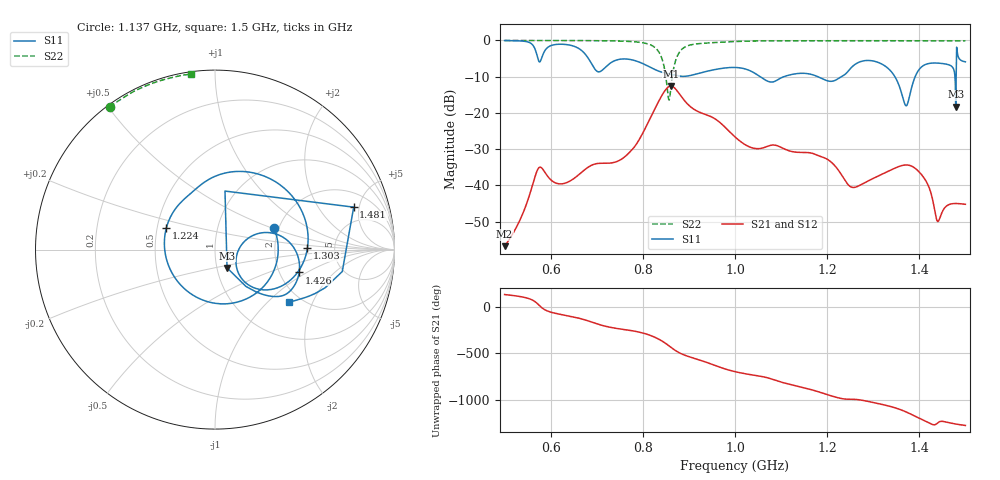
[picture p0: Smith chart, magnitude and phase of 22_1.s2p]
! TOUCHSTONE file generated by CST MICROWAVE STUDIO
! Date and time: Sat Nov 14 20:37:58 2020
! Project name: Scenario_1_Planar_Body_Tissue_Out_of_Line_v2.cst
! Parameters = {dy1=-17.3; L_HA=400; Ltissue=700; MT=2.54; Rad_Dielectric=30; Rad_Lower=7.3; Rad_Upper=30; Wtissue=700; a_HA=580; a_WG=246; b_HA=500; b_WG=121; c_HA=0; c_WG=187; d_feed=85; dx1=173; h_feed=15; h_lower=18; h_upper=40; hfat=3; hgap=25; hmuscle=50; hskin=1.5}
! Header version: 2018
! Port assignment regex: !\s*Touchstone port\s*([0-9]+)\s*=\s*(CST MWS port|CST DS port)\s*([0-9]+|Zmin|Zmax)\s*\(\"(.*)\"\)(\s*mode\s*([0-9]+))?.*
! Touchstone port assignment:
! Touchstone port 1 = CST MWS port 1 ("")
! Touchstone port 2 = CST MWS port 2 ("")
# GHz S DB R 50
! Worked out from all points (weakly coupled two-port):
!   1003 points, 500 MHz to 1.5 GHz, reference 50 ohm
!   highest |S21| = -12.58 dB at 861 MHz (marker M1); lowest = -56.8 dB at 500 MHz (marker M2)
!   lowest |S11| = -18.3 dB at 1.479 GHz (marker M3), VSWR 1.28, Z = 55.9 - j11.5 ohm
!   |S11| at or under -10 dB: 1.054 GHz to 1.106 GHz (51.78 MHz wide, 4.79 % of centre); 1.18 GHz to 1.231 GHz (51.02 MHz wide, 4.23 % of centre); 1.347 GHz to 1.391 GHz (44.04 MHz wide, 3.22 % of centre)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
!   |S22| runs from -16.5 to 0.0 dB; largest |S21 - S12| = 2e-05
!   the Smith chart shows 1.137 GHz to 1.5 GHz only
!   S11 on the Smith chart (normalised r, x): 1.137 GHz: 1.89, +0.51; 1.224 GHz: 0.56, +0.15; 1.303 GHz: 3.12, +0.07; 1.426 GHz: 2.56, -0.85; 1.481 GHz: 3.23, +4.40; 1.5 GHz: 1.72, -1.36
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0.5  -0.04 -121.7  -56.79 132.0  -56.79 132.0  -0.01 151.1
0.574  -5.68 -163.7  -35.18 21.2  -35.18 21.2  -0.02 146.0
0.628  -1.07 171.8  -39.51 -87.8  -39.51 -87.8  -0.03 141.9
0.667  -2.77 107.9  -36.41 -130.2  -36.41 -130.2  -0.04 138.4
0.692  -7.15 23.5  -34.27 -169.5  -34.27 -169.5  -0.06 135.7
0.716  -7.74 -94.4  -33.91 154.3  -33.91 154.3  -0.09 132.8
0.785  -5.66 110.6  -28.81 94.9  -28.81 94.9  -0.41 118.7
0.834  -8.46 2.6  -16.89 12.7  -16.89 12.7  -3.04 81.7
0.861  -9.33 -68.2  -12.58 -76.1  -12.58 -76.1  -12.86 -105.0
0.944  -8.37 87.8  -20.81 111.9  -20.81 111.9  -0.67 149.1
1  -7.46 -25.1  -26.63 21.8  -26.63 21.8  -0.30 140.4
1.064  -10.80 -167.6  -29.53 -36.4  -29.53 -36.4  -0.13 133.0
1.137  -9.12 19.7  -30.89 -136.4  -30.89 -136.4  -0.09 126.4
1.167  -9.42 -40.4  -31.13 -174.0  -31.13 -174.0  -0.10 124.0
1.224  -10.55 155.6  -35.75 100.3  -35.75 100.3  -0.09 119.8
1.303  -5.76 1.0  -37.89 46.5  -37.89 46.5  -0.08 113.8
1.334  -7.92 -32.5  -36.01 11.3  -36.01 11.3  -0.09 111.5
1.371  -18.04 -16.0  -34.37 -51.1  -34.37 -51.1  -0.09 108.6
1.426  -6.27 -15.2  -42.46 177.8  -42.46 177.8  -0.10 104.2
1.479  -18.28 -56.6  -45.01 178.1  -45.01 178.1  -0.11 99.7
1.481  -1.85 17.0  -45.02 176.4  -45.02 176.4  -0.11 99.6
1.5  -5.91 -35.5  -45.22 162.6  -45.23 162.6  -0.12 97.9
